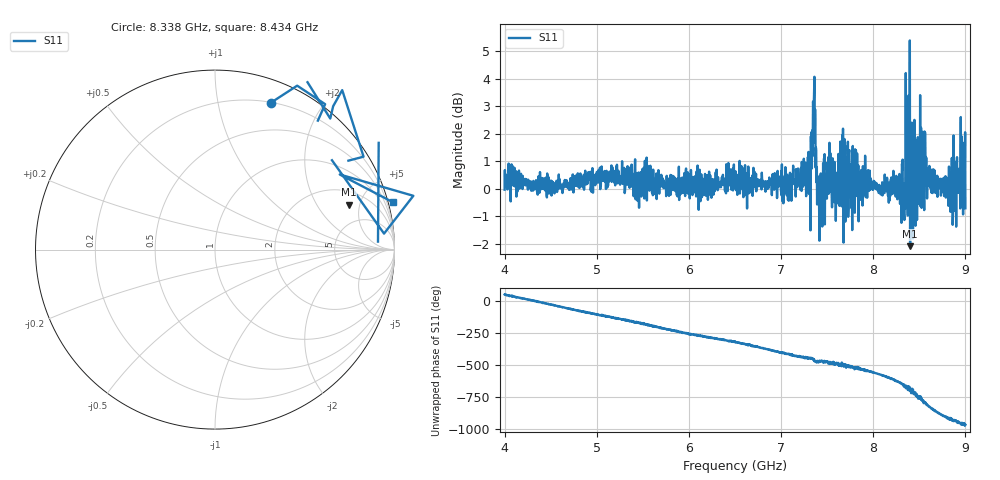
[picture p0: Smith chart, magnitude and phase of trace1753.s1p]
! Created with skrf 1.8.0 (http://scikit-rf.org).
# Hz S RI R 50.0
!freq ReS11 ImS11
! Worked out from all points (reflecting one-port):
!   1601 points, 4 GHz to 9 GHz, reference 50 ohm
!   lowest |S11| = -2.1 dB at 8.4 GHz (marker M1), VSWR 8.33, Z = 150 + j196 ohm
!   phase of S11 starts at 53 deg and turns -1016 deg over the sweep
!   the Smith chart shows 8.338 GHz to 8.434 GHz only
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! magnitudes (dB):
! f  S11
! 4 GHz  0.0
! 4.066 GHz  -0.5
! 4.625 GHz  0.0
! 5.25 GHz  0.2
! 5.875 GHz  0.2
! 6.5 GHz  0.3
! 7.125 GHz  0.5
! 7.294 GHz  -0.1
! 7.319 GHz  -1.5
! 7.347 GHz  3.2
! 7.372 GHz  2.5
! 7.4 GHz  0.4
! 7.428 GHz  0.4
! 7.512 GHz  1.1
! 7.609 GHz  0.3
! 7.647 GHz  0.7
! 7.75 GHz  0.6
! 8.322 GHz  -1.0
! 8.334 GHz  -0.9
! 8.35 GHz  2.4
! 8.375 GHz  -1.0
! 8.4 GHz  -2.1
! 8.447 GHz  2.5
! 8.522 GHz  1.0
! 8.606 GHz  0.2
! 8.841 GHz  0.1
! 8.972 GHz  0.4
! 9 GHz  -0.7
